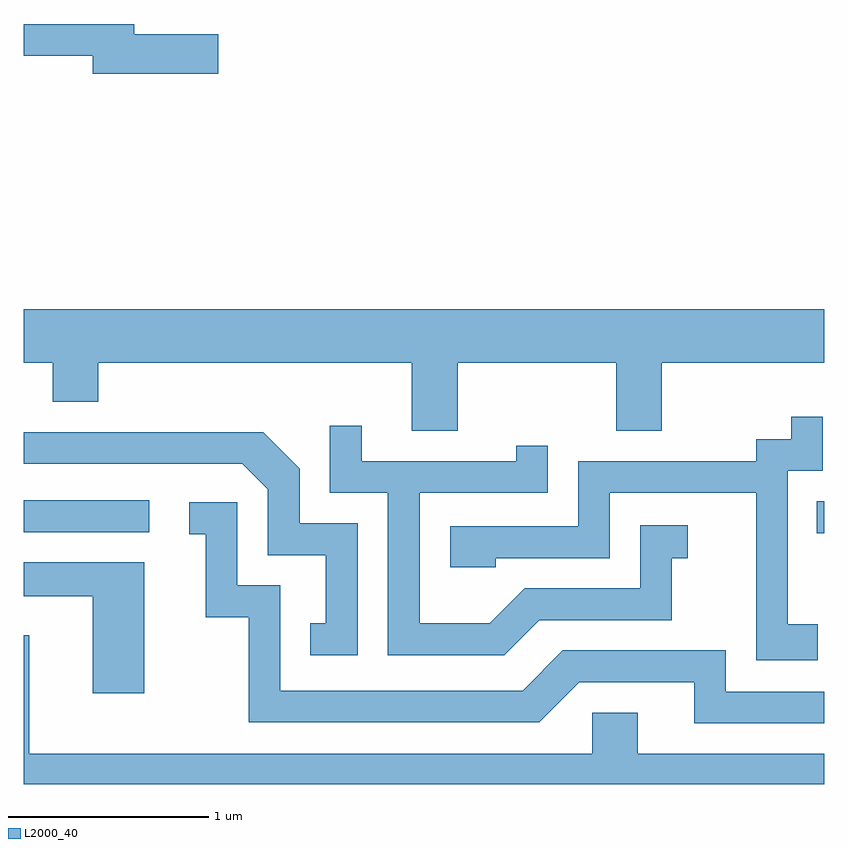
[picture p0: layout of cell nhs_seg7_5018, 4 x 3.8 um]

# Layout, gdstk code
import gdstk
lib = gdstk.Library(unit=1e-6, precision=1e-09)
def R(c, l, rs):  # rectangles x0, y0, x1, y1
    for r in rs: c.add(gdstk.rectangle(r[:2], r[2:], *l))
def P(c, l, *ps):  # polygons
    for p in ps: c.add(gdstk.Polygon(p, *l))
L2000_40 = (2000, 40)

nhs_seg7_5018 = lib.new_cell('nhs_seg7_5018')
R(nhs_seg7_5018, L2000_40, [(343.573,1673.506,343.611,1673.664), (339.611,1673.511,340.238,1673.669)])
P(nhs_seg7_5018, L2000_40, [(340.584,1675.999),(340.164,1675.999),(340.164,1676.049),(339.611,1676.049),(339.611,1675.891),(339.956,1675.891),(339.956,1675.801),(340.584,1675.801)],
  [(341.779,1674.356),(342.571,1674.356),(342.571,1674.016),(342.799,1674.016),(342.799,1674.356),(343.611,1674.356),(343.611,1674.624),(339.611,1674.624),(339.611,1674.356),(339.756,1674.356),(339.756,1674.161),(339.984,1674.161),(339.984,1674.356),(341.551,1674.356),(341.551,1674.016),(341.779,1674.016)],
  [(343.579,1673.049),(343.429,1673.049),(343.429,1673.816),(343.604,1673.816),(343.604,1674.088),(343.446,1674.088),(343.446,1673.974),(343.271,1673.974),(343.271,1673.864),(342.381,1673.864),(342.381,1673.539),(341.741,1673.539),(341.741,1673.336),(341.969,1673.336),(341.969,1673.381),(342.539,1673.381),(342.539,1673.706),(343.271,1673.706),(343.271,1672.871),(343.579,1672.871)],
  [(342.187,1673.071),(342.849,1673.071),(342.849,1673.381),(342.928,1673.381),(342.928,1673.544),(342.691,1673.544),(342.691,1673.229),(342.114,1673.229),(341.939,1673.054),(341.589,1673.054),(341.589,1673.706),(342.229,1673.706),(342.229,1673.943),(342.071,1673.943),(342.071,1673.864),(341.299,1673.864),(341.299,1674.043),(341.141,1674.043),(341.141,1673.706),(341.431,1673.706),(341.431,1672.896),(342.012,1672.896)],
  [(341.279,1673.554),(340.989,1673.554),(340.989,1673.827),(340.807,1674.009),(339.611,1674.009),(339.611,1673.851),(340.704,1673.851),(340.831,1673.724),(340.831,1673.396),(341.121,1673.396),(341.121,1673.054),(341.043,1673.054),(341.043,1672.896),(341.279,1672.896)],
  [(343.611,1672.714),(343.119,1672.714),(343.119,1672.919),(342.304,1672.919),(342.104,1672.719),(340.894,1672.719),(340.894,1673.244),(340.679,1673.244),(340.679,1673.659),(340.438,1673.659),(340.438,1673.501),(340.521,1673.501),(340.521,1673.086),(340.736,1673.086),(340.736,1672.561),(342.187,1672.561),(342.387,1672.761),(342.961,1672.761),(342.961,1672.556),(343.611,1672.556)],
  [(340.214,1673.359),(339.611,1673.359),(339.611,1673.191),(339.956,1673.191),(339.956,1672.706),(340.214,1672.706)],
  [(343.611,1672.404),(342.679,1672.404),(342.679,1672.609),(342.451,1672.609),(342.451,1672.404),(339.639,1672.404),(339.639,1672.994),(339.611,1672.994),(339.611,1672.252),(343.611,1672.252)])

lib.write_gds('nhs_seg7_5018.gds')
